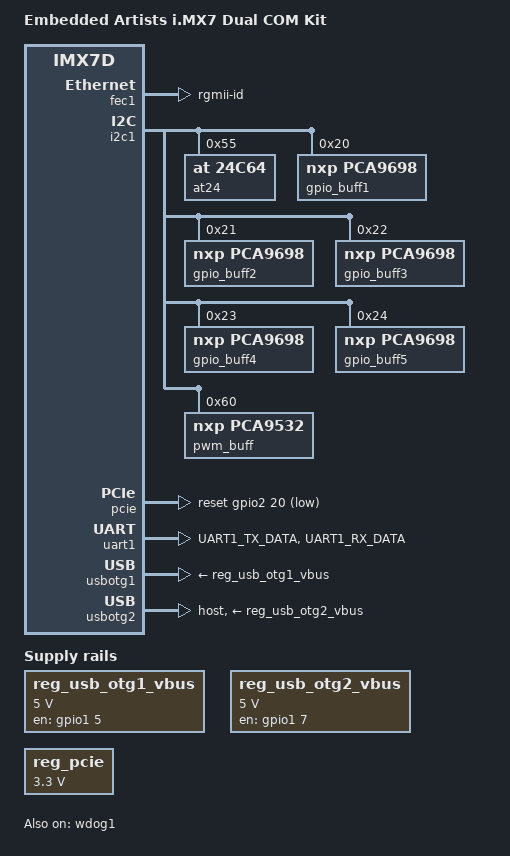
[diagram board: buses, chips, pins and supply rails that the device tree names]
/*
 * Copyright (C) 2015 Freescale Semiconductor, Inc.
 *
 * This program is free software; you can redistribute it and/or modify
 * it under the terms of the GNU General Public License version 2 as
 * published by the Free Software Foundation.
 */

/dts-v1/;

#include <dt-bindings/input/input.h>
#include <dt-bindings/leds/leds-pca9532.h>
#include "imx7dea-com.dtsi"

/ {
	model = "Embedded Artists i.MX7 Dual COM Kit";
	compatible = "fsl,imx7dea-com", "fsl,imx7d";

	/* Aliases to allow u-boot to modify the device tree */
	aliases {
	};

	regulators {
		compatible = "simple-bus";
		#address-cells = <1>;
		#size-cells = <0>;

		reg_usb_otg1_vbus: regulator@0 {
			compatible = "regulator-fixed";
			reg = <0>;
			regulator-name = "usb_otg1_vbus";
			regulator-min-microvolt = <5000000>;
			regulator-max-microvolt = <5000000>;
			gpio = <&gpio1 5 GPIO_ACTIVE_HIGH>;
			enable-active-high;
		};

		reg_usb_otg2_vbus: regulator@1 {
			compatible = "regulator-fixed";
			reg = <1>;
			regulator-name = "usb_otg2_vbus";
			regulator-min-microvolt = <5000000>;
			regulator-max-microvolt = <5000000>;
			gpio = <&gpio1 7 GPIO_ACTIVE_HIGH>;
			enable-active-high;
		};

		reg_pcie: regulator@4 {
			compatible = "regulator-fixed";
			reg = <4>;
			regulator-name = "MPCIE_3V3";
			regulator-min-microvolt = <3300000>;
			regulator-max-microvolt = <3300000>;
			regulator-always-on;
			enable-active-high;
		};
	};
};

&fec1 {
	/delete-property/ pinctrl-assert-gpios;

	phy-mode = "rgmii-id";
};

&ethphy0 {
	/delete-property/ rx-internal-delay-ps;
	/delete-property/ tx-internal-delay-ps;

	reset-gpios = <&gpio7 15 GPIO_ACTIVE_HIGH>;
	reset-assert-us = <10000>;
	reset-deassert-us = <80000>;
};

&i2c1 {
	at24@55 {
		compatible = "at,24c64";
		pagesize = <32>;
		reg = <0x55>;
	};

	gpio_buff1: pca9698@20 {
		compatible = "nxp,pca9698";
		reg = <0x20>;
		gpio-controller;
		#gpio-cells = <2>;
	};
	gpio_buff2: pca9698@21 {
		compatible = "nxp,pca9698";
		reg = <0x21>;
		gpio-controller;
		#gpio-cells = <2>;
	};
	gpio_buff3: pca9698@22 {
		compatible = "nxp,pca9698";
		reg = <0x22>;
		gpio-controller;
		#gpio-cells = <2>;
	};
	gpio_buff4: pca9698@23 {
		compatible = "nxp,pca9698";
		reg = <0x23>;
		gpio-controller;
		#gpio-cells = <2>;
	};
	gpio_buff5: pca9698@24 {
		compatible = "nxp,pca9698";
		reg = <0x24>;
		gpio-controller;
		#gpio-cells = <2>;
	};

	pwm_buff: pca9532@60 {
		compatible = "nxp,pca9532";
		reg = <0x60>;

		tst-pwm-000 {
			label = "TST_PWM_000";
			type = <PCA9532_TYPE_LED>;
		};
		tst-pwm-001 {
			label = "TST_PWM_001";
			type = <PCA9532_TYPE_LED>;
		};
		tst-pwm-002 {
			label = "TST_PWM_002";
			type = <PCA9532_TYPE_LED>;
		};
		tst-pwm-003 {
			label = "TST_PWM_003";
			type = <PCA9532_TYPE_LED>;
		};
		tst-pwm-004 {
			label = "TST_PWM_004";
			type = <PCA9532_TYPE_LED>;
		};
		tst-pwm-005 {
			label = "TST_PWM_005";
			type = <PCA9532_TYPE_LED>;
		};
		tst-pwm-006 {
			label = "TST_PWM_006";
			type = <PCA9532_TYPE_LED>;
		};
		tst-pwm-007 {
			label = "TST_PWM_007";
			type = <PCA9532_TYPE_LED>;
		};
		tst-pwm-008 {
			label = "TST_PWM_008";
			type = <PCA9532_TYPE_LED>;
		};
		tst-pwm-009 {
			label = "TST_PWM_009";
			type = <PCA9532_TYPE_LED>;
		};
		tst-pwm-010 {
			label = "TST_PWM_010";
			type = <PCA9532_TYPE_LED>;
		};
		tst-pwm-011 {
			label = "TST_PWM_011";
			type = <PCA9532_TYPE_LED>;
		};
		tst-pwm-012 {
			label = "TST_PWM_012";
			type = <PCA9532_TYPE_LED>;
		};
		red-led {
			label = "TST_PWM_013-RED_LED";
			type = <PCA9532_TYPE_LED>;
		};
		blue-led {
			label = "TST_PWM_014-BLUE_LED";
			type = <PCA9532_TYPE_LED>;
		};
		green-led {
			label = "TST_PWM_015-GREEN_LED";
			type = <PCA9532_TYPE_LED>;
		};
	};
};

&i2c2 {
        status = "disabled";
};

&i2c3 {
        status = "disabled";
};

&i2c4 {
        status = "disabled";
};

&iomuxc {
	pinctrl-names = "default";
	pinctrl-0 = <&pinctrl_hog_1>, <&pinctrl_test_1>;

	imx7d-sdb {
		pinctrl_hog_1: hoggrp-1 {
			fsl,pins = <
				MX7D_PAD_UART3_CTS_B__GPIO4_IO7		0x14
				MX7D_PAD_ECSPI2_SS0__GPIO4_IO23   0x80000000  /* bt reg on */
				MX7D_PAD_GPIO1_IO08__GPIO1_IO8		0x59
				MX7D_PAD_SD1_CD_B__GPIO5_IO0		0x59  /* CD */
				MX7D_PAD_SD1_RESET_B__GPIO5_IO2		0x59  /* vmmc */
				MX7D_PAD_EPDC_SDCE3__GPIO2_IO23         0x59
				MX7D_PAD_EPDC_DATA14__GPIO2_IO14        0x59  /* CAN_STBY */
			>;
		};

		pinctrl_test_1: tstgrp-1 {
			fsl,pins = <
				/* From: pinctrl_hog_1: hoggrp-1 */

				/* From: pinctrl_rgb_connector: rgb_connector_grp */
				MX7D_PAD_SD2_CD_B__GPIO5_IO9			0x3b

				/* From: pinctrl_ov5647: ov5647grp-1 */
				MX7D_PAD_I2C4_SCL__GPIO4_IO14			0x3b
				MX7D_PAD_I2C4_SDA__GPIO4_IO15			0x3b

				/* From: pinctrl_epdc0: epdcgrp0 */
				MX7D_PAD_EPDC_DATA04__GPIO2_IO4			0x3b
				MX7D_PAD_EPDC_DATA07__GPIO2_IO7			0x3b
				MX7D_PAD_EPDC_DATA08__GPIO2_IO8			0x3b
				MX7D_PAD_EPDC_DATA09__GPIO2_IO9			0x3b
				MX7D_PAD_EPDC_DATA10__GPIO2_IO10		0x3b
				MX7D_PAD_EPDC_DATA11__GPIO2_IO11		0x3b
				MX7D_PAD_EPDC_DATA12__GPIO2_IO12		0x3b
				MX7D_PAD_EPDC_DATA13__GPIO2_IO13		0x3b
				MX7D_PAD_EPDC_DATA14__GPIO2_IO14		0x3b
				MX7D_PAD_EPDC_DATA15__GPIO2_IO15		0x3b
				MX7D_PAD_EPDC_SDCLK__GPIO2_IO16			0x3b
				MX7D_PAD_EPDC_SDLE__GPIO2_IO17			0x3b
				MX7D_PAD_EPDC_SDOE__GPIO2_IO18			0x3b
				MX7D_PAD_EPDC_SDSHR__GPIO2_IO19			0x3b
				MX7D_PAD_EPDC_SDCE0__GPIO2_IO20			0x3b
				MX7D_PAD_EPDC_SDCE1__GPIO2_IO21			0x3b
				MX7D_PAD_EPDC_GDCLK__GPIO2_IO24			0x3b
				MX7D_PAD_EPDC_GDOE__GPIO2_IO25			0x3b
				MX7D_PAD_EPDC_GDRL__GPIO2_IO26			0x3b
				MX7D_PAD_EPDC_GDSP__GPIO2_IO27			0x3b
				MX7D_PAD_EPDC_BDR0__GPIO2_IO28			0x3b
				MX7D_PAD_EPDC_BDR1__GPIO2_IO29			0x3b

				/* From: pinctrl_ecspi3_cs: ecspi3_cs_grp */
				MX7D_PAD_SD2_CD_B__GPIO5_IO9			0x3b

		                /* From: pinctrl_ecspi3: ecspi3grp */
				MX7D_PAD_SAI2_TX_SYNC__GPIO6_IO19		0x3b
				MX7D_PAD_SAI2_TX_BCLK__GPIO6_IO20		0x3b
				MX7D_PAD_SAI2_RX_DATA__GPIO6_IO21		0x3b

                                /* From: pinctrl_flexcan1: flexcan1grp */
				MX7D_PAD_GPIO1_IO12__GPIO1_IO12			0x3b
				MX7D_PAD_GPIO1_IO13__GPIO1_IO13			0x3b

		                /* From: pinctrl_flexcan2: flexcan2grp */
				MX7D_PAD_GPIO1_IO14__GPIO1_IO14			0x3b
				MX7D_PAD_GPIO1_IO15__GPIO1_IO15			0x3b

		                /* From: pinctrl_i2c2: i2c2grp */
				MX7D_PAD_I2C2_SDA__GPIO4_IO11			0x3b
				MX7D_PAD_I2C2_SCL__GPIO4_IO10			0x3b

		                /* From: pinctrl_i2c3: i2c3grp */
				MX7D_PAD_I2C3_SDA__GPIO4_IO13			0x3b
				MX7D_PAD_I2C3_SCL__GPIO4_IO12			0x3b

		                /* From: pinctrl_i2c4: i2c4grp */
				MX7D_PAD_SAI1_RX_BCLK__GPIO6_IO17		0x3b
				MX7D_PAD_SAI1_RX_SYNC__GPIO6_IO16		0x3b

		                /* From: pinctrl_lcdif_dat: lcdifdatgrp */
				MX7D_PAD_LCD_DATA00__GPIO3_IO5			0x3b
				MX7D_PAD_LCD_DATA01__GPIO3_IO6			0x3b
				MX7D_PAD_LCD_DATA02__GPIO3_IO7			0x3b
				MX7D_PAD_LCD_DATA03__GPIO3_IO8			0x3b
				MX7D_PAD_LCD_DATA04__GPIO3_IO9			0x3b
				MX7D_PAD_LCD_DATA05__GPIO3_IO10			0x3b
				MX7D_PAD_LCD_DATA06__GPIO3_IO11			0x3b
				MX7D_PAD_LCD_DATA07__GPIO3_IO12			0x3b
				MX7D_PAD_LCD_DATA08__GPIO3_IO13			0x3b
				MX7D_PAD_LCD_DATA09__GPIO3_IO14			0x3b
				MX7D_PAD_LCD_DATA10__GPIO3_IO15			0x3b
				MX7D_PAD_LCD_DATA11__GPIO3_IO16			0x3b
				MX7D_PAD_LCD_DATA12__GPIO3_IO17			0x3b
				MX7D_PAD_LCD_DATA13__GPIO3_IO18			0x3b
				MX7D_PAD_LCD_DATA14__GPIO3_IO19			0x3b
				MX7D_PAD_LCD_DATA15__GPIO3_IO20			0x3b
				MX7D_PAD_LCD_DATA16__GPIO3_IO21			0x3b
				MX7D_PAD_LCD_DATA17__GPIO3_IO22			0x3b
				MX7D_PAD_LCD_DATA18__GPIO3_IO23			0x3b
				MX7D_PAD_LCD_DATA19__GPIO3_IO24			0x3b
				MX7D_PAD_LCD_DATA20__GPIO3_IO25			0x3b
				MX7D_PAD_LCD_DATA21__GPIO3_IO26			0x3b
				MX7D_PAD_LCD_DATA22__GPIO3_IO27			0x3b
				MX7D_PAD_LCD_DATA23__GPIO3_IO28			0x3b

				/* From: pinctrl_lcdif_ctrl: lcdifctrlgrp */
				MX7D_PAD_LCD_CLK__GPIO3_IO0			0x3b
				MX7D_PAD_LCD_ENABLE__GPIO3_IO1			0x3b
				MX7D_PAD_LCD_VSYNC__GPIO3_IO3			0x3b
				MX7D_PAD_LCD_HSYNC__GPIO3_IO2			0x3b
				MX7D_PAD_LCD_RESET__GPIO3_IO4			0x3b
				MX7D_PAD_EPDC_GDCLK__GPIO2_IO24			0x3b
				MX7D_PAD_EPDC_GDOE__GPIO2_IO25			0x3b

				/* From: pinctrl_uart2: uart2grp */
				MX7D_PAD_UART2_TX_DATA__GPIO4_IO3		0x3b
				MX7D_PAD_UART2_RX_DATA__GPIO4_IO2		0x3b

				/* From: pinctrl_uart3: uart3grp */
				MX7D_PAD_UART3_TX_DATA__GPIO4_IO5		0x3b
				MX7D_PAD_UART3_RX_DATA__GPIO4_IO4		0x3b

				/* From: pinctrl_usdhc1: usdhc1grp */
				MX7D_PAD_SD1_CMD__GPIO5_IO4			0x3b
				MX7D_PAD_SD1_CLK__GPIO5_IO3			0x3b
				MX7D_PAD_SD1_DATA0__GPIO5_IO5			0x3b
				MX7D_PAD_SD1_DATA1__GPIO5_IO6			0x3b
				MX7D_PAD_SD1_DATA2__GPIO5_IO7			0x3b
				MX7D_PAD_SD1_DATA3__GPIO5_IO8			0x3b

				/* From: pinctrl_usdhc2: usdhc2grp */
				MX7D_PAD_SD2_CMD__GPIO5_IO13			0x3b
				MX7D_PAD_SD2_CLK__GPIO5_IO12			0x3b
				MX7D_PAD_SD2_DATA0__GPIO5_IO14			0x3b
				MX7D_PAD_SD2_DATA1__GPIO5_IO15			0x3b
				MX7D_PAD_SD2_DATA2__GPIO5_IO16			0x3b
				MX7D_PAD_SD2_DATA3__GPIO5_IO17			0x3b
				MX7D_PAD_ECSPI2_MOSI__GPIO4_IO21		0x3b

				/* From: pinctrl_sai1: sai1grp */
				MX7D_PAD_SAI1_MCLK__GPIO6_IO18			0x3b
				MX7D_PAD_SAI1_TX_BCLK__GPIO6_IO13		0x3b
				MX7D_PAD_SAI1_TX_SYNC__GPIO6_IO14		0x3b
				MX7D_PAD_SAI1_TX_DATA__GPIO6_IO15		0x3b
				MX7D_PAD_SAI1_RX_DATA__GPIO6_IO12		0x3b

				/* pinctrl_spi1: spi1grp */
				MX7D_PAD_GPIO1_IO09__GPIO1_IO9			0x3b
				MX7D_PAD_GPIO1_IO12__GPIO1_IO12			0x3b
				MX7D_PAD_GPIO1_IO13__GPIO1_IO13			0x3b
			>;
		};

		/delete-node/ pinctrl_i2c2;
		/delete-node/ pinctrl_i2c3;
		/delete-node/ pinctrl_i2c4;

		pinctrl_uart1: uart1grp {
			fsl,pins = <
				MX7D_PAD_UART1_TX_DATA__UART1_DCE_TX 0x79
				MX7D_PAD_UART1_RX_DATA__UART1_DCE_RX 0x79
			>;
		};
	};
};

&iomuxc_lpsr {
	pinctrl-names = "default";
	pinctrl-0 = <&pinctrl_hog_2>;

	imx7d-sdb {
		pinctrl_hog_2: hoggrp-2 {
			fsl,pins = <
				MX7D_PAD_LPSR_GPIO1_IO05__GPIO1_IO5		0x14
				MX7D_PAD_LPSR_GPIO1_IO00__WDOG1_WDOG_ANY	0x74
				MX7D_PAD_LPSR_GPIO1_IO07__GPIO1_IO7		0x59
			>;
		};

		pinctrl_pwm1: pwm1grp {
			fsl,pins = <
				MX7D_PAD_LPSR_GPIO1_IO01__PWM1_OUT	0x110b0
			>;
		};

                pinctrl_pwm3: pwm3grp {
                        fsl,pins = <
                                MX7D_PAD_LPSR_GPIO1_IO03__PWM3_OUT   0x110b0
                        >;
                };

	};
};

&pcie {
	pinctrl-names = "default";
	reset-gpio = <&gpio2 20 GPIO_ACTIVE_LOW>;
	status = "okay";
};

&uart1 {
	pinctrl-names = "default";
	pinctrl-0 = <&pinctrl_uart1>;
	assigned-clocks = <&clks IMX7D_UART1_ROOT_SRC>;
	assigned-clock-parents = <&clks IMX7D_OSC_24M_CLK>;
	status = "okay";
};

&usbotg1 {
	vbus-supply = <&reg_usb_otg1_vbus>;
	srp-disable;
	hnp-disable;
	adp-disable;
	status = "okay";
};

&usbotg2 {
	vbus-supply = <&reg_usb_otg2_vbus>;
	dr_mode = "host";
	status = "okay";
};

&wdog1 {
	status = "okay";
	fsl,ext-reset-output;
};
